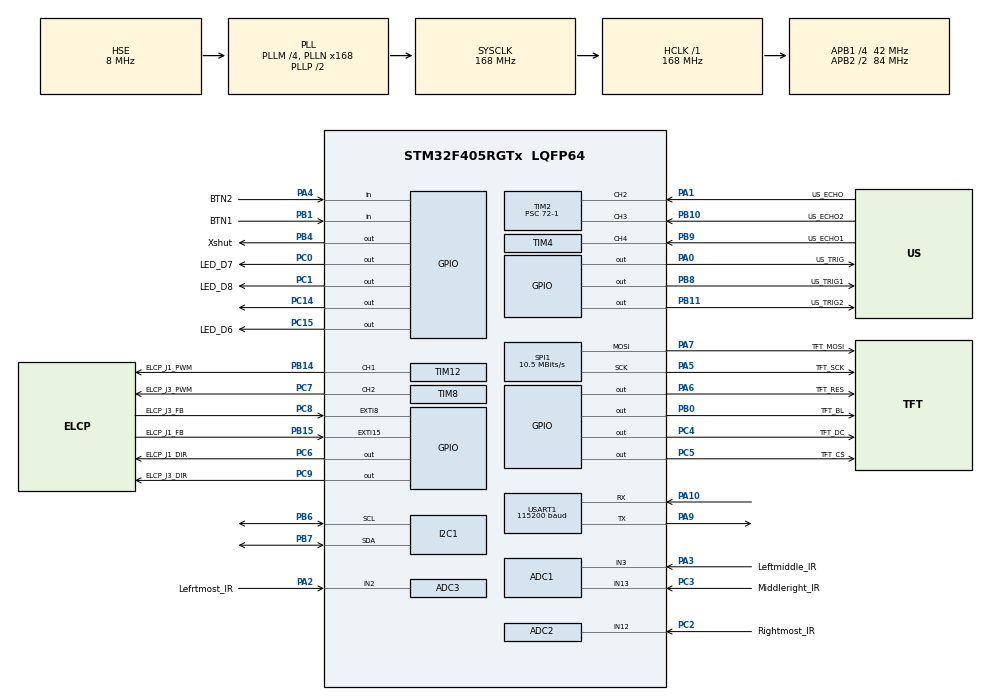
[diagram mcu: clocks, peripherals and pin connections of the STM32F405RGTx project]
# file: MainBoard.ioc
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ADC1.Channel-2\#ChannelRegularConversion=ADC_CHANNEL_13
ADC1.NbrOfConversionFlag=1
ADC1.Rank-2\#ChannelRegularConversion=1
ADC1.SamplingTime-2\#ChannelRegularConversion=ADC_SAMPLETIME_3CYCLES
ADC1.master=1
ADC2.Channel-0\#ChannelRegularConversion=ADC_CHANNEL_12
ADC2.NbrOfConversionFlag=1
ADC2.Rank-0\#ChannelRegularConversion=1
ADC2.SamplingTime-0\#ChannelRegularConversion=ADC_SAMPLETIME_3CYCLES
ADC3.Channel-0\#ChannelRegularConversion=ADC_CHANNEL_2
ADC3.NbrOfConversionFlag=1
ADC3.Rank-0\#ChannelRegularConversion=1
ADC3.SamplingTime-0\#ChannelRegularConversion=ADC_SAMPLETIME_3CYCLES
Dma.Request0=SPI1_TX
Dma.SPI1_TX.0.Direction=DMA_MEMORY_TO_PERIPH
Dma.SPI1_TX.0.FIFOMode=DMA_FIFOMODE_DISABLE
Dma.SPI1_TX.0.Instance=DMA2_Stream3
Dma.SPI1_TX.0.MemDataAlignment=DMA_MDATAALIGN_BYTE
Dma.SPI1_TX.0.MemInc=DMA_MINC_ENABLE
Dma.SPI1_TX.0.Mode=DMA_NORMAL
Dma.SPI1_TX.0.PeriphDataAlignment=DMA_PDATAALIGN_BYTE
Dma.SPI1_TX.0.PeriphInc=DMA_PINC_DISABLE
Dma.SPI1_TX.0.Priority=DMA_PRIORITY_LOW
Mcu.Family=STM32F4
Mcu.Name=STM32F405RGTx
Mcu.Package=LQFP64
NVIC.DMA2_Stream3_IRQn=true\:0\:0\:false\:false\:true\:false\:true\:true
NVIC.EXTI15_10_IRQn=true\:0\:0\:false\:false\:true\:true\:true\:true
NVIC.EXTI9_5_IRQn=true\:0\:0\:false\:false\:true\:true\:true\:true
NVIC.PriorityGroup=NVIC_PRIORITYGROUP_4
NVIC.SPI1_IRQn=true\:0\:0\:false\:false\:true\:true\:true\:true
NVIC.TIM2_IRQn=true\:0\:0\:false\:false\:true\:true\:true\:true
NVIC.TIM4_IRQn=true\:0\:0\:false\:false\:true\:true\:true\:true
NVIC.USART1_IRQn=true\:0\:0\:false\:false\:true\:true\:true\:true
PA0-WKUP.GPIO_Label=US_TRIG
PA0-WKUP.Signal=GPIO_Output
PA1.GPIO_Label=US_ECHO
PA1.Signal=S_TIM2_CH2
PA10.Mode=Asynchronous
PA10.Signal=USART1_RX
PA13.Mode=Serial_Wire
PA13.Signal=SYS_JTMS-SWDIO
PA14.Mode=Serial_Wire
PA14.Signal=SYS_JTCK-SWCLK
PA2.GPIO_Label=Lefrtmost_IR
PA2.Signal=ADCx_IN2
PA3.GPIO_Label=Leftmiddle_IR
PA3.Signal=SharedAnalog_PA3
PA4.GPIO_Label=BTN2
PA4.GPIO_PuPd=GPIO_PULLUP
PA4.Signal=GPIO_Input
PA5.GPIO_Label=TFT_SCK
PA5.Mode=TX_Only_Simplex_Unidirect_Master
PA5.Signal=SPI1_SCK
PA6.GPIO_Label=TFT_RES
PA6.Signal=GPIO_Output
PA7.GPIO_Label=TFT_MOSI
PA7.Mode=TX_Only_Simplex_Unidirect_Master
PA7.Signal=SPI1_MOSI
PA9.Mode=Asynchronous
PA9.Signal=USART1_TX
PB0.GPIO_Label=TFT_BL
PB0.Signal=GPIO_Output
PB1.GPIO_Label=BTN1
PB1.GPIO_PuPd=GPIO_PULLUP
PB1.Signal=GPIO_Input
PB10.GPIO_Label=US_ECHO2
PB10.Signal=S_TIM2_CH3
PB11.GPIO_Label=US_TRIG2
PB11.Signal=GPIO_Output
PB14.GPIO_Label=ELCP_J1_PWM
PB14.Signal=S_TIM12_CH1
PB15.GPIO_Label=ELCP_J1_FB
PB15.GPIO_PuPd=GPIO_PULLUP
PB15.Signal=GPXTI15
PB4.GPIO_Label=Xshut
PB4.GPIO_ModeDefaultOutputPP=GPIO_MODE_OUTPUT_OD
PB4.GPIO_PuPd=GPIO_NOPULL
PB4.Signal=GPIO_Output
PB6.Mode=I2C
PB6.Signal=I2C1_SCL
PB7.Mode=I2C
PB7.Signal=I2C1_SDA
PB8.GPIO_Label=US_TRIG1
PB8.Signal=GPIO_Output
PB9.GPIO_Label=US_ECHO1
PB9.Signal=S_TIM4_CH4
PC0.GPIO_Label=LED_D7
PC0.PinState=GPIO_PIN_SET
PC0.Signal=GPIO_Output
PC1.GPIO_Label=LED_D8
PC1.PinState=GPIO_PIN_SET
PC1.Signal=GPIO_Output
PC14-OSC32_IN.Signal=GPIO_Output
PC15-OSC32_OUT.GPIO_Label=LED_D6
PC15-OSC32_OUT.PinState=GPIO_PIN_SET
PC15-OSC32_OUT.Signal=GPIO_Output
PC2.GPIO_Label=Rightmost_IR
PC2.Signal=ADCx_IN12
PC3.GPIO_Label=Middleright_IR
PC3.Signal=ADCx_IN13
PC4.GPIO_Label=TFT_DC
PC4.Signal=GPIO_Output
PC5.GPIO_Label=TFT_CS
PC5.Signal=GPIO_Output
PC6.GPIO_Label=ELCP_J1_DIR
PC6.GPIO_ModeDefaultOutputPP=GPIO_MODE_OUTPUT_OD
PC6.GPIO_PuPd=GPIO_NOPULL
PC6.Signal=GPIO_Output
PC7.GPIO_Label=ELCP_J3_PWM
PC7.Signal=S_TIM8_CH2
PC8.GPIO_Label=ELCP_J3_FB
PC8.GPIO_PuPd=GPIO_PULLUP
PC8.Signal=GPXTI8
PC9.GPIO_Label=ELCP_J3_DIR
PC9.GPIO_ModeDefaultOutputPP=GPIO_MODE_OUTPUT_OD
PC9.GPIO_PuPd=GPIO_NOPULL
PC9.Signal=GPIO_Output
PH0-OSC_IN.Mode=HSE-External-Oscillator
PH0-OSC_IN.Signal=RCC_OSC_IN
PH1-OSC_OUT.Mode=HSE-External-Oscillator
PH1-OSC_OUT.Signal=RCC_OSC_OUT
ProjectManager.HeapSize=0x200
ProjectManager.StackSize=0x400
ProjectManager.TargetToolchain=CMake
RCC.48MHZClocksFreq_Value=84000000
RCC.AHBFreq_Value=168000000
RCC.APB1CLKDivider=RCC_HCLK_DIV4
RCC.APB1Freq_Value=42000000
RCC.APB1TimFreq_Value=84000000
RCC.APB2CLKDivider=RCC_HCLK_DIV2
RCC.APB2Freq_Value=84000000
RCC.APB2TimFreq_Value=168000000
RCC.CortexFreq_Value=168000000
RCC.HCLKFreq_Value=168000000
RCC.HSE_VALUE=8000000
RCC.HSI_VALUE=16000000
RCC.LSE_VALUE=32768
RCC.PLLM=4
RCC.PLLN=168
RCC.PLLSourceVirtual=RCC_PLLSOURCE_HSE
RCC.SYSCLKFreq_VALUE=168000000
RCC.SYSCLKSource=RCC_SYSCLKSOURCE_PLLCLK
RCC.VCOOutputFreq_Value=336000000
SH.ADCx_IN12.0=ADC2_IN12,IN12
SH.ADCx_IN13.0=ADC1_IN13,IN13
SH.ADCx_IN2.0=ADC3_IN2,IN2
SH.S_TIM12_CH1.0=TIM12_CH1,PWM Generation1 CH1
SH.S_TIM2_CH2.0=TIM2_CH2,Input_Capture2_from_TI2
SH.S_TIM2_CH3.0=TIM2_CH3,Input_Capture3_from_TI3
SH.S_TIM4_CH4.0=TIM4_CH4,Input_Capture4_from_TI4
SH.S_TIM8_CH2.0=TIM8_CH2,PWM Generation2 CH2
SH.SharedAnalog_PA3.0=GPIO_Analog
SH.SharedAnalog_PA3.1=ADC1_IN3,IN3
SPI1.BaudRatePrescaler=SPI_BAUDRATEPRESCALER_8
SPI1.CalculateBaudRate=10.5 MBits/s
SPI1.Direction=SPI_DIRECTION_2LINES
SPI1.Mode=SPI_MODE_MASTER
SPI1.VirtualType=VM_MASTER
TIM12.AutoReloadPreload=TIM_AUTORELOAD_PRELOAD_ENABLE
TIM12.Channel-PWM\ Generation1\ CH1=TIM_CHANNEL_1
TIM12.Period=1049
TIM12.Prescaler=7
TIM2.Channel-Input_Capture2_from_TI2=TIM_CHANNEL_2
TIM2.Channel-Input_Capture3_from_TI3=TIM_CHANNEL_3
TIM2.Period=\ 0xffff-1
TIM2.Prescaler=72-1
TIM4.Channel-Input_Capture4_from_TI4=TIM_CHANNEL_4
TIM4.Period=0xffff-1
TIM4.Prescaler=72-1
TIM8.AutoReloadPreload=TIM_AUTORELOAD_PRELOAD_ENABLE
TIM8.Channel-PWM\ Generation2\ CH2=TIM_CHANNEL_2
TIM8.OCPolarity_2=TIM_OCPOLARITY_HIGH
TIM8.Period=1049
TIM8.Prescaler=7
USART1.BaudRate=115200
USART1.VirtualMode=VM_ASYNC
VP_TIM8_VS_ClockSourceINT.Mode=Internal
board=custom

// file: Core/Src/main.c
/* USER CODE BEGIN Header */
/**
  ******************************************************************************
  * @file           : main.c
  * @brief          : Main program body
  ******************************************************************************
  * @attention
  *
  * Copyright (c) 2026 STMicroelectronics.
  * All rights reserved.
  *
  * This software is licensed under terms that can be found in the LICENSE file
  * in the root directory of this software component.
  * If no LICENSE file comes with this software, it is provided AS-IS.
  *
  ******************************************************************************
  */
/* USER CODE END Header */
#include "main.h"
#include "adc.h"
#include "dma.h"
#include "i2c.h"
#include "spi.h"
#include "tim.h"
#include "usart.h"
#include "gpio.h"

/* USER CODE BEGIN Includes */
#include "lcd/lcd.h"
#include "elcp_motor/elcp_motor.h"
#include "ir_sensor.h"
#include "tof.h"
#include "ultrasonic.h"
#include <stdio.h>
#include <string.h>
/* USER CODE END Includes */

/* USER CODE BEGIN PV */
static IR_Sensors ir;
static int32_t us_mm[ULTRASONIC_COUNT] = {-1, -1, -1};  /* latest raw reading per ultrasonic */

/* USER CODE END PV */

void SystemClock_Config(void);

/* USER CODE BEGIN 0 */
/* Startup log: each call adds a line and redraws the TFT immediately.
 * tft_update clears the buffer after drawing, so all lines are reprinted each time. */
static void boot_log(const char *msg) {
  static const char *lines[10];
  static unsigned count;
  if (count < 10) lines[count++] = msg;
  for (unsigned i = 0; i < count; i++) tft_prints(0, i, "%s", lines[i]);
  tft_update(0);
}

/* Fills the screen buffer with all sensor values (ST7735 pin-on-top: 16 x 10).
 * Row 0 is the title. The caller pushes it with tft_update, which clears the buffer. */
static void show_status(const char *title) {
  static const char *const ir_names[IR_COUNT] = {"LL", "LM", "RM", "RR"};
  tft_prints(0, 0, "%s", title);
  for (unsigned i = 0; i < IR_COUNT; i++) {            /* rows 1-4: IR raw, trigger, black */
    char state = !ir.ok[i] ? '?' : ir.black[i] ? '#' : '.';
    tft_prints(0, 1 + i, "%s %4d %4d %c", ir_names[i],
               (int)ir.raw[i], (int)ir.trigger[i], state);
  }
  static const char *const us_names[ULTRASONIC_COUNT] = {"US ", "US1", "US2"};  /* .ioc labels */
  for (unsigned i = 0; i < ULTRASONIC_COUNT; i++) {    /* rows 5-7: US (front), US1, US2 */
    if (us_mm[i] < 0) tft_prints(0, 5 + i, "%s NO ECHO", us_names[i]);
    else              tft_prints(0, 5 + i, "%s %4d mm", us_names[i], (int)us_mm[i]);
  }
  int32_t tof = ToF_DistanceMm();                      /* row 8: ToF */
  const ToF_Data *td = ToF_Get();
  if (tof >= 0)                tft_prints(0, 8, "TOF %4d mm", (int)tof);
  else if (td->status != TOF_OK) tft_prints(0, 8, "TOF %s", ToF_StatusText(td->status));
  else                         tft_prints(0, 8, "TOF ---- RS%u", td->range_status);
  const ELCP_Motor_State_t *m1 = ELCP_Motor_GetState(MOTOR_J1);   /* row 9: motors, % */
  const ELCP_Motor_State_t *m3 = ELCP_Motor_GetState(MOTOR_J3);
  tft_prints(0, 9, "J1%+4d%% J3%+4d%%", (int)m1->current_speed_pct, (int)m3->current_speed_pct);
}

/* Same screen during key 1 (which blocks the main loop), with the phase as the
 * title. Redraws every 100 ms; only changed characters are sent, so it is quick. */
static int32_t pulses_shown = -1;          /* turn pulses, shown top right; -1 = none */

static void key1_show(const char *phase) {
  static uint32_t last;
  if (HAL_GetTick() - last < 100) return;
  last = HAL_GetTick();
  IR_Update(&ir);
  ToF_Update();                              /* never blocks */
  ELCP_Motor_UpdatePPS(MOTOR_J1);
  ELCP_Motor_UpdatePPS(MOTOR_J3);
  show_status(phase);
  if (pulses_shown >= 0) tft_prints(11, 0, "%5d", (int)pulses_shown);
  tft_update(0);
}

/* ---- Key 1 -------------------------------------------------------------------------
 * 1. START    1 s still.
 * 2. TO KEY   line PID at BASE_SPEED, APPROACH_SPEED inside APPROACH_MM;
 *             stop when US1 (front) < KEY1_STOP_MM (165 mm) twice in a row. Straight line, so
 *             steering is capped at LINE_TURN_RATIO of the speed (no junctions).
 * 3. PAUSE    1 s still.
 * 4. KEY OFF  turn right RIGHT_DEG (60 deg), then pull back a little.
 * 5. TURN     right on the spot; a line seen inside TURN_WIN_MIN..TURN_WIN_MAX pulses
 *             is the straight path back: stop and follow it. Lines outside are ignored.
 * 6. RETURN   same line PID and steering cap as step 2, until all 4 IR see black (T-line),
 *             then straight ahead 2:1 into the start zone, stop at GOAL_STOP_MM (120 mm).
 * Line reading: middle sensors first, outer only if both middle are off,
 * 3+ black (junction) = straight, line lost = keep steering toward the last side.
 * ------------------------------------------------------------------------------------ */
#define BASE_SPEED  20.0f  /* key 1 cruising speed, % before gearing; J1 gets 2x this */
#define KEY2_SPEED  20.0f  /* key 2 cruising speed, on the way to the key */
#define KEY2_RETURN_SPEED 15.0f /* key 2 cruising speed after the key (20 drove off the field) */
#define START_MS    1000   /* both keys: first drive straight ahead 2:1 this long */
#define J1_GAIN     2.0f   /* J1 needs ~2x J3 to drive straight */
#define J3_GAIN     1.0f
#define LINE_KP     -2.5f  /* steering toward the line (small steps); negative = J1 is the right wheel */
#define LINE_KD     -6.0f  /* damping: brakes the turn as the line comes back to centre. Same sign as LINE_KP */
#define LINE_DT_MS  5      /* steering update period, ms: small steps, often */
#define LINE_SLEW   1.0f   /* max steering change per update, % (5 ms -> 0 to full turn in 100 ms) */
#define KEY1_STOP_MM 161   /* key 1: stop this far from the key holder */
#define KEY2_STOP_MM 149   /* key 2: stop this far from the key holder */
#define GOAL_STOP_MM 120   /* return leg: after the T, drive straight 2:1 and stop this
                            * far from the wall of the start zone (front ultrasonic) */
#define GOAL_MAX_MS 8000   /* safety: stop the straight drive after this if US1 never trips */
#define GOAL_IGNORE_MS 500 /* return leg: ignore a T this soon after starting */
#define RETURN_MAX_MS 30000   /* safety: stop the return leg if no T is ever found */
#define LINE_TURN_RATIO 0.20f /* both legs are straight: steering at most 20% of the speed,
                              * so the two wheels can't differ enough to take a junction.
                              * Lower = straighter, but slower to correct a drift */
#define APPROACH_MM 400    /* inside this, slow down for a precise stop (IR stays on) */
#define APPROACH_SPEED 15.0f /* speed inside APPROACH_MM */
#define TURN_PAUSE_MS 1000 /* standstill before the turn */
#define TURN_SPEED  12.0f  /* % pivot speed for the turn */
#define TURN_MAX_MS 20000  /* safety only (e.g. encoder unplugged): TURN_WIN_MAX ends the turn */
#define TURN_WIN_MIN 200   /* turn-around window, encoder pulses of turning: the straight */
#define TURN_WIN_MAX 400   /* path back is the only line in here. CALIBRATE from the
                            * end-of-run screen: put the path's count inside, the junction
                            * branch's outside */
#define TURN_LOG_MAX 6     /* lines logged during the turn-around */
#define SETTLE_SPEED 10.0f /* % speed turning back onto the line after coasting past it */
#define SETTLE_MAX_MS 1500 /* give up turning back after this (then line following searches) */
#define RIGHT_DEG   60.0f  /* at the key: turn right this far */
#define PIVOT_SPEED 12.0f  /* % speed for that turn */
#define PIVOT_PULSES_PER_DEG 1.0f /* encoder pulses per degree of turning on the spot: CALIBRATE */
#define PULL_SPEED  15.0f  /* % speed for the small pullback before turning */
#define PULL_MS     1000   /* how long to pull back before turning */
#define K1_HOOK_LEFT_PULSES 8 /* small BTN2 left adjustment: 2/10 of 114 encoder pulses */
#define K2_HOOK_LEFT_PULSES 26 /* small BTN2 left adjustment: 2/10 of 114 encoder pulses */
#define K2_END_RIGHT_PULSES 26 /* end of key 2: turn right this many encoder pulses */
#define K2_END_LEFT_PULSES 32  /* end of key 2: turn left this many (a bit more than right) */
#define K2_END_BACK_MS 600     /* end of key 2: move back this long */
#define K2_END_FWD_MS  650     /* end of key 2: move forward this long */
#define K2_END_SPEED   15.0f   /* end of key 2: speed for the back / forward moves */
#define K1_END_RIGHT_PULSES 16 /* end of key 1: the same sequence, ~60 % of key 2's values */
#define K1_END_LEFT_PULSES  16
#define K1_END_BACK_MS 360
#define K1_END_FWD_MS  390

/* Key 2 */
#define K2_BRANCH_N 2      /* turn right at this branch on the right (2nd = the D's line) */
#define BRANCH_LOCKOUT_MS 300 /* a branch counts once: next one only after this long
                               * without branch readings */
#define BRANCH_IGNORE_MS 0    /* ignore branches this soon after the start: 0 = off, the
                              * 0.5 s straight start (START_MS) already leaves the start zone */
#define BRANCH_MAX_MS 30000   /* safety: give up counting after this */
#define AXLE_FWD_PULSES 80 /* IR bar -> wheel axle, in J3 encoder pulses: drive this far
                            * past the junction before pivoting. CALIBRATE */
#define AXLE_FWD_MAX_MS 3000  /* safety for that move */
#define TURN90_WIN_MIN 100 /* 90 deg pivots at the junctions: the new line is the only one */
#define TURN90_WIN_MAX 320 /* in this window of pulses. CALIBRATE from the end screen */
#define K2_T_WIN_MIN 160   /* the turn at the T on the way back: own window, the 90 deg
                            * one shifted 60 pulses (it came out angled) */
#define K2_T_WIN_MAX 380
#define K2_TURN_WIN_MIN 330 /* turn-around at the key 2 holder: the R's diagonal comes ~45 deg */
#define K2_TURN_WIN_MAX 480 /* before the vertical line, so MIN must be above the diagonal's
                             * count. CALIBRATE from the end screen's TURN line */

static float line_err;     /* -2 = line far left .. +2 = line far right; kept if the line is lost */
static float line_hist[4]; /* last 4 errors, so D measures the change over 20 ms */
static unsigned line_hi;
static float line_turn;
static uint32_t line_ms;
static bool line_keep_right; /* right-edge mode: at a split, take the right-hand line */
static float drive_speed = BASE_SPEED;  /* cruising speed of the current key, set in key_start */

/* Fresh steering state, before each drive. */
static void line_reset(void) {
  line_err = line_turn = 0;
  line_hist[0] = line_hist[1] = line_hist[2] = line_hist[3] = 0;
  line_hi = 0;
  line_ms = 0;
  line_keep_right = false;
}

/* Reads the IR and updates line_err. Middle sensors first: the outer ones only count
 * when the line has left both middle ones, so a junction branch touching LL/RR can't
 * steer it. 3+ black (junction) reads as straight. Nothing seen: keep the last value.
 * Right-edge mode instead keeps the line's right edge between RM and RR (line under RM,
 * RR white), judged from the right side first: a second line on the left (a branch
 * splitting off left) is ignored while RM/RR still see the right one. */
static void line_read(void) {
  IR_Update(&ir);
  bool ll = ir.black[IR_LEFTMOST], lm = ir.black[IR_LEFT_MIDDLE];
  bool rm = ir.black[IR_RIGHT_MIDDLE], rr = ir.black[IR_RIGHTMOST];
  if (line_keep_right) {
    if (ll && lm && rm && rr) line_err = 0.0f;  /* T / crossing: straight */
    else if (rr && rm)  line_err = 1.0f;        /* edge drifted right: move right */
    else if (rr)        line_err = 2.0f;        /* far right */
    else if (rm)        line_err = 0.0f;        /* on target */
    else if (lm)        line_err = -1.0f;       /* line only left of centre: move left */
    else if (ll)        line_err = -2.0f;       /* far left */
    return;                                     /* nothing seen: keep the last value */
  }
  if ((int)ll + (int)lm + (int)rm + (int)rr >= 3) line_err = 0.0f;  /* junction: straight */
  else if (lm || rm)  line_err = (float)rm - (float)lm;  /* -1, 0 (centred) or +1 */
  else if (ll && !rr) line_err = -2.0f;                  /* slipped far left */
  else if (rr && !ll) line_err = 2.0f;                   /* slipped far right */
}

/* PD line following, recalculated every LINE_DT_MS. */
static void line_drive(float base, float turn_max) {
  if (HAL_GetTick() - line_ms >= LINE_DT_MS) {
    line_ms = HAL_GetTick();
    line_read();
    float change = line_err - line_hist[line_hi];   /* over the last 4 updates = 20 ms */
    line_hist[line_hi] = line_err;
    line_hi = (line_hi + 1) % 4;

    float target = LINE_KP * line_err + LINE_KD * change;
    if (target > turn_max) target = turn_max;
    if (target < -turn_max) target = -turn_max;

    /* Move toward the target by at most LINE_SLEW per update: small, frequent steps. */
    if (target > line_turn + LINE_SLEW)      line_turn += LINE_SLEW;
    else if (target < line_turn - LINE_SLEW) line_turn -= LINE_SLEW;
    else                                     line_turn = target;
  }
  ELCP_Motor_SetSpeed(MOTOR_J1, J1_GAIN * (base + line_turn));
  ELCP_Motor_SetSpeed(MOTOR_J3, J3_GAIN * (base - line_turn));
}

/* Turn on the spot by deg degrees (+ = left, - = right), measured with the encoders.
 * Left = J1 (right wheel) forward, J3 back. 3 s safety limit. */
static void pivot_deg(float deg, const char *phase) {
  const ELCP_Motor_State_t *m1 = ELCP_Motor_GetState(MOTOR_J1);
  const ELCP_Motor_State_t *m3 = ELCP_Motor_GetState(MOTOR_J3);
  int32_t p1 = m1->pulse_count, p3 = m3->pulse_count;
  float dir = deg > 0 ? 1.0f : -1.0f;
  int32_t target = (int32_t)(dir * deg * PIVOT_PULSES_PER_DEG);
  uint32_t t = HAL_GetTick();
  while (HAL_GetTick() - t < 3000) {
    int32_t turned = (int32_t)dir * ((m1->pulse_count - p1) - (m3->pulse_count - p3));
    pulses_shown = turned;
    if (turned >= target) break;
    ELCP_Motor_SetSpeed(MOTOR_J1, J1_GAIN * dir * PIVOT_SPEED);
    ELCP_Motor_SetSpeed(MOTOR_J3, J3_GAIN * -dir * PIVOT_SPEED);
    key1_show(phase);
  }
  ELCP_Motor_Stop(MOTOR_J1);
  ELCP_Motor_Stop(MOTOR_J3);
  HAL_Delay(200);
}

/* Turn left or right by an exact number of encoder pulses before continuing. */
static void pivot_pulses(int32_t pulses, float dir, float speed, const char *phase) {
  const ELCP_Motor_State_t *m1 = ELCP_Motor_GetState(MOTOR_J1);
  const ELCP_Motor_State_t *m3 = ELCP_Motor_GetState(MOTOR_J3);
  int32_t p1 = m1->pulse_count, p3 = m3->pulse_count;
  int32_t turned = 0;
  uint32_t t = HAL_GetTick();
  while (HAL_GetTick() - t < 3000) {
    turned = (int32_t)dir * ((m1->pulse_count - p1) - (m3->pulse_count - p3));
    if (turned >= pulses) break;
    ELCP_Motor_SetSpeed(MOTOR_J1, J1_GAIN * dir * speed);
    ELCP_Motor_SetSpeed(MOTOR_J3, J3_GAIN * -dir * speed);
    pulses_shown = turned;
    key1_show(phase);
  }
  ELCP_Motor_Stop(MOTOR_J1);
  ELCP_Motor_Stop(MOTOR_J3);
  HAL_Delay(200);
}

/* Straight at the plain 2:1 ratio for ms (speed > 0 forward, < 0 back), then stop. */
static void drive_timed(float speed, uint32_t ms, const char *phase) {
  uint32_t t = HAL_GetTick();
  while (HAL_GetTick() - t < ms) {
    ELCP_Motor_SetSpeed(MOTOR_J1, J1_GAIN * speed);
    ELCP_Motor_SetSpeed(MOTOR_J3, J3_GAIN * speed);
    key1_show(phase);
  }
  ELCP_Motor_Stop(MOTOR_J1);
  ELCP_Motor_Stop(MOTOR_J3);
  HAL_Delay(200);
}

/* "K<k> <what>" for the screen title. One shared buffer: use the result right away. */
static const char *ph(int k, const char *what) {
  static char b[17];
  snprintf(b, sizeof b, "K%d %s", k, what);
  return b;
}

/* Seeds the line follower with the side the line is on (-1 left, 0 ahead, +1 right),
 * used until a sensor sees the line. Same history, so no D kick at the start. */
static void line_start(float start_err) {
  line_reset();
  line_err = start_err;
  for (unsigned i = 0; i < 4; i++) line_hist[i] = start_err;
}

/* Follow the line to the wall ahead (key holder). Slow down inside APPROACH_MM, stop
 * when the front ultrasonic US1 reads under stop_mm twice in a row. Steering is capped
 * at LINE_TURN_RATIO of the speed, so a junction branch can't pull it off the straight. */
static void drive_to_wall(const char *phase, float start_err, int32_t stop_mm) {
  line_start(start_err);
  int close = 0;
  uint32_t last_us = 0;
  float speed = drive_speed;
  while (close < 2) {
    line_drive(speed, LINE_TURN_RATIO * speed);
    if (HAL_GetTick() - last_us >= 60) {
      last_us = HAL_GetTick();
      int32_t d = Ultrasonic_ReadMm(0);   /* US1, front */
      us_mm[0] = d;
      close = (d >= 0 && d < stop_mm) ? close + 1 : 0;
      if (d >= 0 && d < APPROACH_MM) speed = APPROACH_SPEED;  /* slow final approach, stays slow */
    }
    key1_show(phase);
  }
  ELCP_Motor_Stop(MOTOR_J1);
  ELCP_Motor_Stop(MOTOR_J3);
}

/* Follow the line (same capped steering) until all 4 IR see black on two fresh readings
 * in a row: a T-line. A T in the first ignore_ms is ignored. Motors keep running. */
static void follow_to_T(const char *phase, float start_err, uint32_t ignore_ms) {
  line_start(start_err);
  uint32_t t0 = HAL_GetTick(), seen_read = 0;
  int t_hits = 0;
  while (HAL_GetTick() - t0 < RETURN_MAX_MS) {
    line_drive(drive_speed, LINE_TURN_RATIO * drive_speed);
    if (line_ms != seen_read) {              /* a fresh IR reading (every LINE_DT_MS) */
      seen_read = line_ms;
      bool all = ir.black[IR_LEFTMOST] && ir.black[IR_LEFT_MIDDLE] &&
                 ir.black[IR_RIGHT_MIDDLE] && ir.black[IR_RIGHTMOST];
      t_hits = (all && HAL_GetTick() - t0 >= ignore_ms) ? t_hits + 1 : 0;
      if (t_hits >= 2) break;                /* T-line */
    }
    key1_show(phase);
  }
}

/* Straight ahead at the plain 2:1 ratio (no steering), slow inside APPROACH_MM, stop
 * when US1 reads under stop_mm twice in a row. GOAL_MAX_MS is a safety limit only. */
static void straight_to_wall(const char *phase, int32_t stop_mm) {
  uint32_t t = HAL_GetTick(), last_us = 0;
  int close = 0;
  float speed = drive_speed;
  while (close < 2 && HAL_GetTick() - t < GOAL_MAX_MS) {
    ELCP_Motor_SetSpeed(MOTOR_J1, J1_GAIN * speed);
    ELCP_Motor_SetSpeed(MOTOR_J3, J3_GAIN * speed);
    if (HAL_GetTick() - last_us >= 60) {
      last_us = HAL_GetTick();
      int32_t d = Ultrasonic_ReadMm(0);      /* US1, front */
      us_mm[0] = d;
      close = (d >= 0 && d < stop_mm) ? close + 1 : 0;
      if (d >= 0 && d < APPROACH_MM) speed = APPROACH_SPEED;  /* slow final approach */
    }
    key1_show(phase);
  }
  ELCP_Motor_Stop(MOTOR_J1);
  ELCP_Motor_Stop(MOTOR_J3);
}

/* Return to the start: follow the line to the T-line at the start zone, then straight
 * 2:1 into it and stop at GOAL_STOP_MM. */
static void drive_to_goal(int k, float start_err) {
  follow_to_T(ph(k, "RETURN"), start_err, GOAL_IGNORE_MS);
  straight_to_wall(ph(k, "GOAL"), GOAL_STOP_MM);
}

/* Lines met during a pivot, for calibrating its window (shown after the run). */
typedef struct {
  int32_t at[TURN_LOG_MAX];  /* pulses turned at each line met (middle white -> black) */
  unsigned n;                /* lines met (can exceed TURN_LOG_MAX) */
  int32_t stop;              /* pulses turned when the turn stopped */
} TurnLog;

/* Pivot on the spot (dir +1 = left, -1 = right) until a middle sensor sees a line inside
 * the window win_min..win_max encoder pulses of turning. Lines outside the window are
 * ignored and reaching win_max ends the turn, so it never swings on to another line.
 * need_leave: the sensors start on a line (at a junction), so it must be left first.
 * The robot coasts a little after stopping: if the line slipped past the middle
 * sensors it turns back slowly until one sees it again.
 * Returns the side the line is on if no sensor sees it (start_err for the next follow). */
static float pivot_to_line(float dir, int32_t win_min, int32_t win_max, bool need_leave,
                           TurnLog *log, const char *phase) {
  const ELCP_Motor_State_t *m1 = ELCP_Motor_GetState(MOTOR_J1);
  const ELCP_Motor_State_t *m3 = ELCP_Motor_GetState(MOTOR_J3);
  int32_t p1 = m1->pulse_count, p3 = m3->pulse_count;
  int32_t turned = 0;
  bool was_middle = true;                    /* starts near a line: no edge yet */
  bool left_line = !need_leave;
  log->n = 0;
  uint32_t t = HAL_GetTick();
  while (HAL_GetTick() - t < TURN_MAX_MS && turned < win_max) {
    IR_Update(&ir);
    bool middle = ir.black[IR_LEFT_MIDDLE] || ir.black[IR_RIGHT_MIDDLE];
    turned = (int32_t)dir * ((m1->pulse_count - p1) - (m3->pulse_count - p3));
    if (middle && !was_middle) {             /* log every line met */
      if (log->n < TURN_LOG_MAX) log->at[log->n] = turned;
      log->n++;
    }
    was_middle = middle;
    if (!middle) left_line = true;
    if (middle && left_line && turned >= win_min) break;   /* line inside the window */
    ELCP_Motor_SetSpeed(MOTOR_J1, J1_GAIN * dir * TURN_SPEED);
    ELCP_Motor_SetSpeed(MOTOR_J3, J3_GAIN * -dir * TURN_SPEED);
    pulses_shown = turned;                   /* stays on screen after */
    key1_show(phase);
  }
  ELCP_Motor_Stop(MOTOR_J1);
  ELCP_Motor_Stop(MOTOR_J3);
  HAL_Delay(200);
  log->stop = turned;

  /* Turning moves the line the other way across the robot, so after coasting past it
   * the line is on the side we turned from: turn back that way, slowly. */
  float side = dir;                          /* right turn overshot: line on the left */
  IR_Update(&ir);
  if (turned >= win_min && turned < win_max &&
      !ir.black[IR_LEFT_MIDDLE] && !ir.black[IR_RIGHT_MIDDLE]) {
    t = HAL_GetTick();
    while (HAL_GetTick() - t < SETTLE_MAX_MS) {
      IR_Update(&ir);
      if (ir.black[IR_LEFT_MIDDLE] || ir.black[IR_RIGHT_MIDDLE]) break;
      ELCP_Motor_SetSpeed(MOTOR_J1, J1_GAIN * -dir * SETTLE_SPEED);
      ELCP_Motor_SetSpeed(MOTOR_J3, J3_GAIN * dir * SETTLE_SPEED);
      key1_show("TURN BACK");
    }
    ELCP_Motor_Stop(MOTOR_J1);
    ELCP_Motor_Stop(MOTOR_J3);
    HAL_Delay(200);
    side = -dir;                             /* if it coasted again, now the other side */
  }
  return side;
}

/* 1 s still after the button press. */
static void key_start(int k) {
  drive_speed = (k == 2) ? KEY2_SPEED : BASE_SPEED;
  pulses_shown = -1;
  uint32_t t = HAL_GetTick();
  while (HAL_GetTick() - t < 1000) key1_show(ph(k, "START"));

  /* Then straight ahead at the plain 2:1 ratio (no line following) for START_MS.
   * The motors keep running into the line following that comes next. */
  t = HAL_GetTick();
  while (HAL_GetTick() - t < START_MS) {
    ELCP_Motor_SetSpeed(MOTOR_J1, J1_GAIN * drive_speed);
    ELCP_Motor_SetSpeed(MOTOR_J3, J3_GAIN * drive_speed);
    key1_show(ph(k, "GO"));
  }
}

/* At the key holder: stand still, turn right RIGHT_DEG, pull back a little. */
static void key_motion(int k) {
  uint32_t t = HAL_GetTick();
  while (HAL_GetTick() - t < TURN_PAUSE_MS) key1_show(ph(k, "PAUSE"));
  pulses_shown = 0;
  if (k == 1) pivot_pulses(K1_HOOK_LEFT_PULSES, 1.0f, PIVOT_SPEED, ph(k, "LEFT"));
  if (k == 2) pivot_pulses(K2_HOOK_LEFT_PULSES, 1.0f, PIVOT_SPEED, ph(k, "LEFT"));
  pivot_deg(-RIGHT_DEG, ph(k, "RIGHT"));
  t = HAL_GetTick();
  while (HAL_GetTick() - t < PULL_MS) {
    ELCP_Motor_SetSpeed(MOTOR_J1, J1_GAIN * -PULL_SPEED);
    ELCP_Motor_SetSpeed(MOTOR_J3, J3_GAIN * -PULL_SPEED);
    key1_show(ph(k, "PULL"));
  }
  ELCP_Motor_Stop(MOTOR_J1);
  ELCP_Motor_Stop(MOTOR_J3);
  HAL_Delay(200);
}

static void key1(void) {
  key_start(1);
  drive_to_wall("K1 TO KEY", 0.0f, KEY1_STOP_MM);
  key_motion(1);
  /* Turn around right: the straight path back is the only line inside the window. */
  TurnLog turn;
  float side = pivot_to_line(-1.0f, TURN_WIN_MIN, TURN_WIN_MAX, false, &turn, "K1 TURN");
  drive_to_goal(1, side);

  /* End of key 1, after the final stop: a bit right, back, left, forward (smaller
   * than key 2's). */
  pivot_pulses(K1_END_RIGHT_PULSES, -1.0f, PIVOT_SPEED, "K1 END RIGHT");
  drive_timed(-K2_END_SPEED, K1_END_BACK_MS, "K1 END BACK");
  pivot_pulses(K1_END_LEFT_PULSES, 1.0f, PIVOT_SPEED, "K1 END LEFT");
  drive_timed(K2_END_SPEED, K1_END_FWD_MS, "K1 END FWD");

  /* After the run: where the turn met lines, to set the window around the straight
   * path's count (and away from the junction branch's). */
  tft_prints(0, 0, "TURN LINES AT");
  unsigned shown = turn.n < TURN_LOG_MAX ? turn.n : TURN_LOG_MAX;
  for (unsigned i = 0; i < shown; i++)
    tft_prints(0, 1 + i, "LINE %u: %d", i + 1, (int)turn.at[i]);
  if (turn.n == 0) tft_prints(0, 1, "NONE");
  tft_prints(0, 8, "STOP AT %d", (int)turn.stop);
  tft_prints(0, 9, "WIN %d-%d", (int)TURN_WIN_MIN, (int)TURN_WIN_MAX);
  tft_update(0);
  HAL_Delay(8000);
}

/* ---- Key 2 -------------------------------------------------------------------------
 * Holder at the bottom of the D's vertical line. Route: east along the top line, right
 * at the 2nd branch on the right, down to the holder, key motion, turn around, up to
 * the top line (T), left, west to the start. Same follower, cap and stops as key 1.
 * ------------------------------------------------------------------------------------ */

/* Follow the line (capped steering) and count junctions, on two fresh readings in a row:
 *   t_junction false: a branch leaving to the RIGHT = rightmost sensor black while a
 *                     middle sensor is still on the line and the leftmost is not.
 *   t_junction true:  a T = BOTH outer sensors black with a middle one (a line out to
 *                     both sides; a branch on one side only, like the diagonal, never
 *                     shows this).
 * Each junction counts once; another can only be counted after BRANCH_LOCKOUT_MS without
 * junction readings. Junctions in the first ignore_ms are ignored. keep_right: follow
 * the line's right edge (a line splitting off left is ignored). Returns at junction n,
 * motors running. */
static void follow_to_junction(const char *title, unsigned n, bool t_junction,
                               float start_err, bool keep_right, uint32_t ignore_ms) {
  line_start(start_err);
  line_keep_right = keep_right;
  uint32_t t0 = HAL_GetTick(), seen_read = 0, last_branch = 0;
  unsigned count = 0;
  int hits = 0;
  bool in_branch = false;
  char shown[17];
  while (count < n && HAL_GetTick() - t0 < BRANCH_MAX_MS) {
    line_drive(drive_speed, LINE_TURN_RATIO * drive_speed);
    if (line_ms != seen_read) {              /* a fresh IR reading */
      seen_read = line_ms;
      uint32_t now = HAL_GetTick();
      bool mid = ir.black[IR_LEFT_MIDDLE] || ir.black[IR_RIGHT_MIDDLE];
      bool branch = t_junction
          ? (ir.black[IR_LEFTMOST] && ir.black[IR_RIGHTMOST] && mid)
          : (ir.black[IR_RIGHTMOST] && mid && !ir.black[IR_LEFTMOST]);
      branch = branch && now - t0 >= ignore_ms;
      hits = branch ? hits + 1 : 0;
      if (hits >= 2) {
        if (!in_branch) count++;             /* a new branch */
        in_branch = true;
        last_branch = now;
      } else if (in_branch && now - last_branch >= BRANCH_LOCKOUT_MS) {
        in_branch = false;                   /* branch passed: ready for the next */
      }
    }
    snprintf(shown, sizeof shown, "%s J%u", title, count);
    key1_show(shown);
  }
  line_keep_right = false;                   /* back to normal centring */
}

/* The IR bar is ahead of the wheels: keep following slowly for AXLE_FWD_PULSES (J3
 * encoder) so the wheels sit on the junction before pivoting. */
static void to_axle(const char *phase, int32_t pulses) {
  const ELCP_Motor_State_t *m3 = ELCP_Motor_GetState(MOTOR_J3);
  int32_t p3 = m3->pulse_count;
  uint32_t t = HAL_GetTick();
  while (m3->pulse_count - p3 < pulses && HAL_GetTick() - t < AXLE_FWD_MAX_MS) {
    line_drive(APPROACH_SPEED, LINE_TURN_RATIO * APPROACH_SPEED);
    key1_show(phase);
  }
  ELCP_Motor_Stop(MOTOR_J1);
  ELCP_Motor_Stop(MOTOR_J3);
  HAL_Delay(200);
}

/* Two screen rows for a pivot's log: "R90 STOP 180" and the lines met "  95 180". */
static void show_turn_log(unsigned row, const char *name, const TurnLog *l) {
  tft_prints(0, row, "%s STOP %d", name, (int)l->stop);
  char b[17] = " ";
  int len = 1;
  unsigned shown = l->n < TURN_LOG_MAX ? l->n : TURN_LOG_MAX;
  for (unsigned i = 0; i < shown && len < 12; i++)
    len += snprintf(b + len, sizeof b - len, " %d", (int)l->at[i]);
  tft_prints(0, row + 1, "%s", l->n ? b : "  NO LINES");
}

static void key2(void) {
  TurnLog r90 = {0}, turn = {0}, l90 = {0};
  key_start(2);
  follow_to_junction("K2 TOP", K2_BRANCH_N, false, 0.0f, false, BRANCH_IGNORE_MS);
                                             /* east, until the 2nd branch on the right */
  to_axle("K2 TO AXLE", AXLE_FWD_PULSES);
  float side = pivot_to_line(-1.0f, TURN90_WIN_MIN, TURN90_WIN_MAX, true, &r90, "K2 RIGHT 90");
  drive_to_wall("K2 TO KEY", side, KEY2_STOP_MM);
  key_motion(2);
  drive_speed = KEY2_RETURN_SPEED;           /* slower for the whole way back */
  side = pivot_to_line(-1.0f, K2_TURN_WIN_MIN, K2_TURN_WIN_MAX, false, &turn, "K2 TURN");
  /* Up to the top line: the mirror of the right turn at the start. Right-edge following
   * (the diagonal splits off left), until the T = both outer sensors black. */
  follow_to_junction("K2 UP", 1, true, side, true, 0);
  to_axle("K2 TO AXLE", AXLE_FWD_PULSES);
  side = pivot_to_line(1.0f, K2_T_WIN_MIN, K2_T_WIN_MAX, true, &l90, "K2 LEFT 90");
  drive_to_goal(2, side);                    /* west to the start, like key 1 */

  /* End of key 2, after the final stop: a bit right, back, left, forward. */
  pivot_pulses(K2_END_RIGHT_PULSES, -1.0f, PIVOT_SPEED, "K2 END RIGHT");
  drive_timed(-K2_END_SPEED, K2_END_BACK_MS, "K2 END BACK");
  pivot_pulses(K2_END_LEFT_PULSES, 1.0f, PIVOT_SPEED, "K2 END LEFT");
  drive_timed(K2_END_SPEED, K2_END_FWD_MS, "K2 END FWD");

  /* After the run: each pivot's stop and the lines it met, to set the windows. */
  tft_prints(0, 0, "K2 DONE");
  show_turn_log(1, "R90", &r90);
  show_turn_log(3, "TURN", &turn);
  show_turn_log(5, "L90", &l90);
  tft_prints(0, 8, "90 WIN %d-%d", (int)TURN90_WIN_MIN, (int)TURN90_WIN_MAX);
  tft_prints(0, 9, "TRN WIN %d-%d", (int)K2_TURN_WIN_MIN, (int)K2_TURN_WIN_MAX);
  tft_update(0);
  HAL_Delay(8000);
}

/* USER CODE END 0 */

int main(void)
{

  /* MCU Configuration--------------------------------------------------------*/

  /* Reset of all peripherals, Initializes the Flash interface and the Systick. */
  HAL_Init();

  /* Configure the system clock */
  SystemClock_Config();

  /* Initialize all configured peripherals */
  MX_GPIO_Init();
  MX_DMA_Init();
  MX_SPI1_Init();
  MX_USART1_UART_Init();
  MX_TIM8_Init();
  MX_TIM12_Init();
  MX_ADC1_Init();
  MX_ADC2_Init();
  MX_ADC3_Init();
  MX_TIM2_Init();
  MX_TIM4_Init();
  MX_I2C1_Init();
  /* USER CODE BEGIN 2 */
  /* Starts TIM12 CH1 / TIM8 CH2 PWM with both motors stopped (0 % duty). */
  ELCP_Motor_Init(MOTOR_J1);
  ELCP_Motor_Init(MOTOR_J3);
  ELCP_Motor_Stop(MOTOR_J1);
  ELCP_Motor_Stop(MOTOR_J3);

  tft_init(PIN_ON_TOP, BLACK, WHITE, CYAN, DARK_GREY);
  boot_log("SENSOR STARTUP");
  boot_log("TFT OK");

  IR_Init(&ir, IR_DEFAULT_TRIGGER);
  boot_log((ir.ok[0] && ir.ok[1] && ir.ok[2] && ir.ok[3]) ? "IR OK" : "IR ADC FAIL");

  boot_log(Ultrasonic_Start() == HAL_OK ? "US x3 OK" : "US FAIL");

  /* ToF: reset, scan I2C1, WHO_AM_I at every address that answers, start ranging.
   * Shows each device as "ADDR WHOAMI MMTT" (VL53L1X: 29 WHOAMI EACC). */
  boot_log("TOF INIT I2C1...");
  {
    ToF_Status st = ToF_Init();
    const ToF_Data *t = ToF_Get();
    /* boot_log keeps the pointer, so the lines live in static buffers (16 columns). */
    static char dev_line[2][17], tof_line[17];
    unsigned shown = t->found_count < 2 ? t->found_count : 2;
    if (t->found_count == 0) boot_log("I2C1 NO DEVICE");
    for (unsigned i = 0; i < shown; i++) {
      snprintf(dev_line[i], 17, "%02X WHOAMI %02X%02X", t->found[i].addr7,
               t->found[i].model_id, t->found[i].module_type);
      boot_log(dev_line[i]);
    }
    if (st == TOF_OK) snprintf(tof_line, sizeof tof_line, "TOF OK @0x%02X", t->addr7);
    else              snprintf(tof_line, sizeof tof_line, "TOF %s", ToF_StatusText(st));
    boot_log(tof_line);
  }

  HAL_Delay(1500);   /* keep the startup log on screen briefly */
  unsigned us_next = 0;
  uint32_t last_us = HAL_GetTick();
  uint32_t tof_retry = HAL_GetTick();

  /* USER CODE END 2 */

  /* Infinite loop */
  while (1)
  {

    /* USER CODE BEGIN 3 */
    /* Read sensors */
    IR_Update(&ir);
    ToF_Update();
    if (!ToF_IsRunning() && HAL_GetTick() - tof_retry >= 1000) {
      tof_retry = HAL_GetTick();             /* sensor down: restart once a second */
      ToF_Init();
    }
    /* Ultrasonics take turns, one every 30 ms (each every 90 ms), so they don't
     * hear each other's echoes. */
    if (HAL_GetTick() - last_us >= 30) {
      last_us = HAL_GetTick();
      us_mm[us_next] = Ultrasonic_ReadMm(us_next);
      us_next = (us_next + 1) % ULTRASONIC_COUNT;
    }
    if (btn_read(BTN1)) key1();
    if (btn_read(BTN2)) key2();

    ELCP_Motor_UpdatePPS(MOTOR_J1);          /* refreshes pps/rpm once per second */
    ELCP_Motor_UpdatePPS(MOTOR_J3);

    show_status("IR  RAW TRIG B");
    tft_update(50);                          /* push to the TFT every 50 ms */
  }

  /* USER CODE END 3 */
}

void SystemClock_Config(void)
{
  RCC_OscInitTypeDef RCC_OscInitStruct = {0};
  RCC_ClkInitTypeDef RCC_ClkInitStruct = {0};

  /** Configure the main internal regulator output voltage
  */
  __HAL_RCC_PWR_CLK_ENABLE();
  __HAL_PWR_VOLTAGESCALING_CONFIG(PWR_REGULATOR_VOLTAGE_SCALE1);

  /** Initializes the RCC Oscillators according to the specified parameters
  * in the RCC_OscInitTypeDef structure.
  */
  RCC_OscInitStruct.OscillatorType = RCC_OSCILLATORTYPE_HSE;
  RCC_OscInitStruct.HSEState = RCC_HSE_ON;
  RCC_OscInitStruct.PLL.PLLState = RCC_PLL_ON;
  RCC_OscInitStruct.PLL.PLLSource = RCC_PLLSOURCE_HSE;
  RCC_OscInitStruct.PLL.PLLM = 4;
  RCC_OscInitStruct.PLL.PLLN = 168;
  RCC_OscInitStruct.PLL.PLLP = RCC_PLLP_DIV2;
  RCC_OscInitStruct.PLL.PLLQ = 4;
  if (HAL_RCC_OscConfig(&RCC_OscInitStruct) != HAL_OK)
  {
    Error_Handler();
  }

  /** Initializes the CPU, AHB and APB buses clocks
  */
  RCC_ClkInitStruct.ClockType = RCC_CLOCKTYPE_HCLK|RCC_CLOCKTYPE_SYSCLK
                              |RCC_CLOCKTYPE_PCLK1|RCC_CLOCKTYPE_PCLK2;
  RCC_ClkInitStruct.SYSCLKSource = RCC_SYSCLKSOURCE_PLLCLK;
  RCC_ClkInitStruct.AHBCLKDivider = RCC_SYSCLK_DIV1;
  RCC_ClkInitStruct.APB1CLKDivider = RCC_HCLK_DIV4;
  RCC_ClkInitStruct.APB2CLKDivider = RCC_HCLK_DIV2;

  if (HAL_RCC_ClockConfig(&RCC_ClkInitStruct, FLASH_LATENCY_5) != HAL_OK)
  {
    Error_Handler();
  }
}

void Error_Handler(void)
{
  /* USER CODE BEGIN Error_Handler_Debug */
  /* Remove PWM on a HAL fatal error; do not depend on initialized motor handles. */
  if (__HAL_RCC_TIM8_IS_CLK_ENABLED()) TIM8->CCR2 = 0;
  if (__HAL_RCC_TIM12_IS_CLK_ENABLED()) TIM12->CCR1 = 0;
  /* User can add his own implementation to report the HAL error return state */
  __disable_irq();
  while (1)
  {
  }
  /* USER CODE END Error_Handler_Debug */
}
